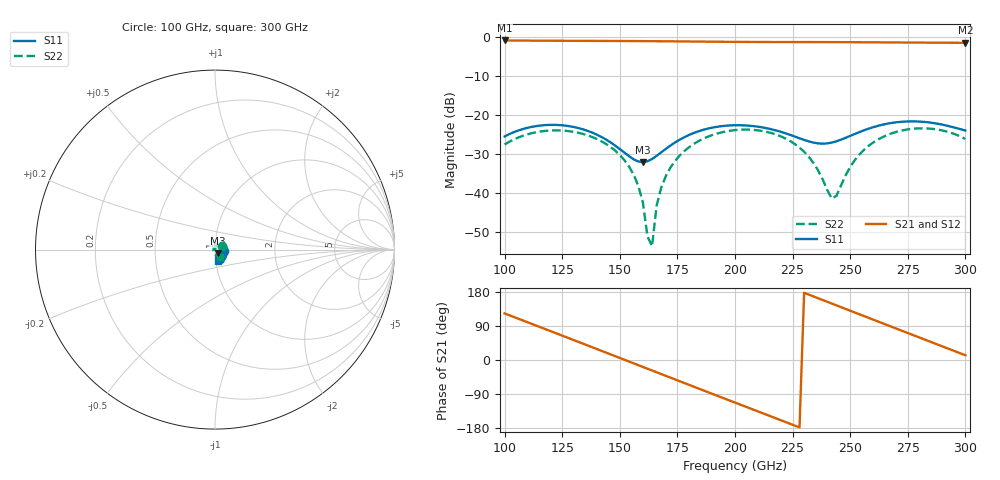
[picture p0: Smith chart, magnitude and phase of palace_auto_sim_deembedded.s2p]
! Created with skrf 1.11.0 (http://scikit-rf.org).
# GHz S DB R 50.0
!freq dBS11 angS11 dBS21 angS21 dBS12 angS12 dBS22 angS22
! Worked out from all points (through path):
!   101 points, 100 GHz to 300 GHz, reference 50 ohm
!   highest |S21| = -0.95 dB at 100 GHz (marker M1); lowest = -1.5 dB at 300 GHz (marker M2)
!   group delay of S21, straight-line fit = 6.54 ps
!   lowest |S11| = -32.1 dB at 160 GHz (marker M3), VSWR 1.05, Z = 51.5 - j2.02 ohm
!   |S11| at or under -10 dB: start of sweep to end of sweep
!   |S22| runs from -53.6 to -23.4 dB; largest |S21 - S12| = 1e-13
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100  -25.52 -7.9  -0.95 122.9  -0.95 122.9  -27.58 27.2
116  -22.69 -35.8  -1.01 85.4  -1.01 85.4  -24.21 -1.6
134  -23.69 -67.6  -1.05 43.1  -1.05 43.1  -24.87 -38.0
152  -29.65 -77.8  -1.09 0.7  -1.09 0.7  -31.59 -75.5
156  -31.36 -68.3  -1.11 -8.8  -1.11 -8.8  -35.29 -83.9
160  -32.11 -52.2  -1.12 -18.2  -1.12 -18.2  -42.33 -92.2
162  -31.87 -43.6  -1.13 -23.0  -1.13 -23.0  -51.09 -95.9
164  -31.28 -36.3  -1.14 -27.7  -1.14 -27.7  -53.60 77.7
166  -30.47 -30.8  -1.15 -32.4  -1.15 -32.4  -43.15 74.3
168  -29.58 -27.2  -1.16 -37.1  -1.16 -37.1  -38.57 70.2
172  -27.84 -24.2  -1.17 -46.6  -1.17 -46.6  -33.46 61.7
180  -25.15 -28.0  -1.21 -65.4  -1.21 -65.4  -28.29 44.5
190  -23.27 -39.5  -1.26 -88.9  -1.26 -88.9  -25.18 22.6
200  -22.65 -52.5  -1.31 -112.4  -1.31 -112.4  -23.89 0.3
218  -24.01 -71.2  -1.35 -154.5  -1.35 -154.5  -25.06 -43.1
234  -27.09 -66.0  -1.37 167.9  -1.37 167.9  -32.25 -93.3
242  -27.08 -51.5  -1.38 149.0  -1.38 149.0  -41.39 -171.6
244  -26.76 -48.4  -1.38 144.3  -1.38 144.3  -40.74 147.8
254  -24.40 -42.5  -1.41 120.7  -1.41 120.7  -30.14 73.2
268  -22.06 -52.3  -1.46 87.7  -1.46 87.7  -24.72 31.2
282  -21.79 -67.0  -1.50 54.8  -1.50 54.8  -23.44 -5.8
300  -24.01 -75.3  -1.55 12.5  -1.55 12.5  -26.16 -55.8
